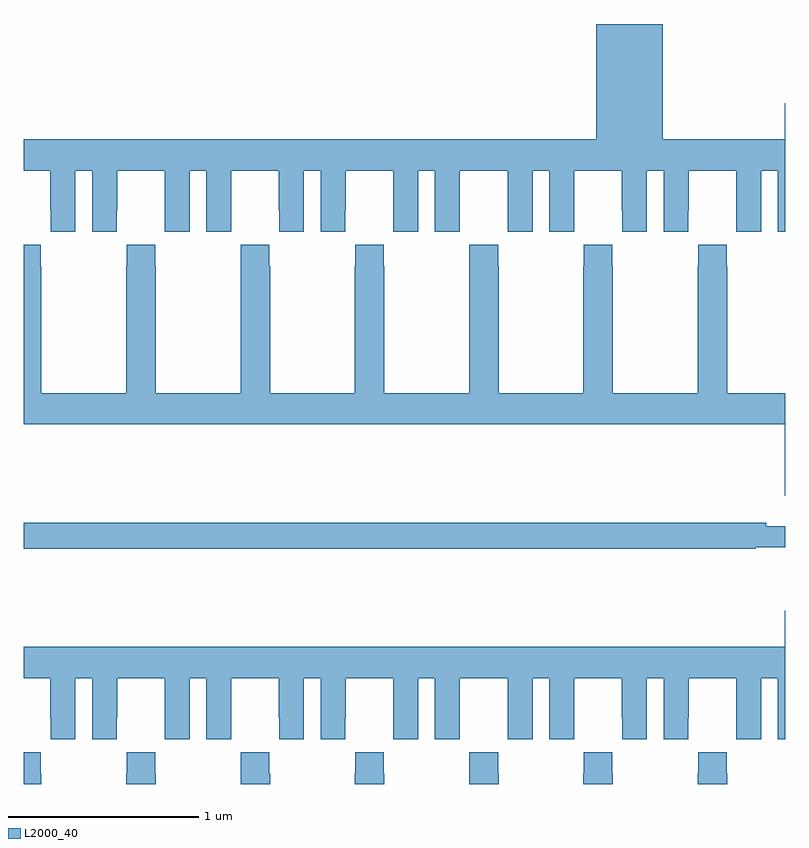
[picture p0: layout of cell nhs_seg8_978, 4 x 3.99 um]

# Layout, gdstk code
import gdstk
lib = gdstk.Library(unit=1e-6, precision=1e-09)
def P(c, l, *ps):  # polygons
    for p in ps: c.add(gdstk.Polygon(p, *l))
L2000_40 = (2000, 40)

nhs_seg8_978 = lib.new_cell('nhs_seg8_978')
P(nhs_seg8_978, L2000_40, [(173,1163.12),(173.141,1163.12),(173.141,1162.912),(173.142,1162.912),(173.142,1162.8),(173.272,1162.8),(173.272,1163.12),(173.36,1163.12),(173.36,1162.8),(173.49,1162.8),(173.49,1162.912),(173.491,1162.912),(173.491,1163.12),(173.741,1163.12),(173.741,1162.912),(173.742,1162.912),(173.742,1162.8),(173.872,1162.8),(173.872,1163.12),(173.96,1163.12),(173.96,1162.8),(174.09,1162.8),(174.09,1162.912),(174.091,1162.912),(174.091,1163.12),(174.341,1163.12),(174.341,1162.912),(174.342,1162.912),(174.342,1162.8),(174.472,1162.8),(174.472,1163.12),(174.56,1163.12),(174.56,1162.8),(174.69,1162.8),(174.69,1162.912),(174.691,1162.912),(174.691,1163.12),(174.941,1163.12),(174.941,1162.912),(174.942,1162.912),(174.942,1162.8),(175.072,1162.8),(175.072,1163.12),(175.16,1163.12),(175.16,1162.8),(175.29,1162.8),(175.29,1162.912),(175.291,1162.912),(175.291,1163.12),(175.541,1163.12),(175.541,1162.912),(175.542,1162.912),(175.542,1162.8),(175.672,1162.8),(175.672,1163.12),(175.76,1163.12),(175.76,1162.8),(175.89,1162.8),(175.89,1162.912),(175.891,1162.912),(175.891,1163.12),(176.141,1163.12),(176.141,1162.912),(176.142,1162.912),(176.142,1162.8),(176.272,1162.8),(176.272,1163.12),(176.36,1163.12),(176.36,1162.8),(176.49,1162.8),(176.49,1162.912),(176.491,1162.912),(176.491,1163.12),(176.741,1163.12),(176.741,1162.912),(176.742,1162.912),(176.742,1162.8),(176.872,1162.8),(176.872,1163.12),(176.96,1163.12),(176.96,1162.8),(177,1162.8),(177,1163.473),(176.996,1163.473),(176.996,1163.284),(176.356,1163.284),(176.356,1163.89),(176.006,1163.89),(176.006,1163.284),(173,1163.284)],
  [(176.541,1162.732),(176.541,1162.619),(176.539,1162.619),(176.539,1161.952),(176.094,1161.952),(176.094,1162.619),(176.091,1162.619),(176.091,1162.732),(175.941,1162.732),(175.941,1162.619),(175.939,1162.619),(175.939,1161.952),(175.494,1161.952),(175.494,1162.619),(175.491,1162.619),(175.491,1162.732),(175.341,1162.732),(175.341,1162.619),(175.339,1162.619),(175.339,1161.952),(174.894,1161.952),(174.894,1162.619),(174.891,1162.619),(174.891,1162.732),(174.741,1162.732),(174.741,1162.619),(174.739,1162.619),(174.739,1161.952),(174.294,1161.952),(174.294,1162.619),(174.291,1162.619),(174.291,1162.732),(174.141,1162.732),(174.141,1162.619),(174.139,1162.619),(174.139,1161.952),(173.694,1161.952),(173.694,1162.619),(173.691,1162.619),(173.691,1162.732),(173.541,1162.732),(173.541,1162.619),(173.539,1162.619),(173.539,1161.952),(173.094,1161.952),(173.094,1162.619),(173.091,1162.619),(173.091,1162.732),(173,1162.732),(173,1161.788),(176.996,1161.788),(176.996,1161.414),(177,1161.414),(177,1161.952),(176.694,1161.952),(176.694,1162.619),(176.691,1162.619),(176.691,1162.732)],
  [(176.845,1161.144),(177,1161.144),(177,1161.253),(176.9,1161.253),(176.9,1161.272),(173,1161.272),(173,1161.136),(176.845,1161.136)],
  [(173,1160.456),(173.141,1160.456),(173.141,1160.248),(173.142,1160.248),(173.142,1160.136),(173.272,1160.136),(173.272,1160.456),(173.36,1160.456),(173.36,1160.136),(173.49,1160.136),(173.49,1160.248),(173.491,1160.248),(173.491,1160.456),(173.741,1160.456),(173.741,1160.248),(173.742,1160.248),(173.742,1160.136),(173.872,1160.136),(173.872,1160.456),(173.96,1160.456),(173.96,1160.136),(174.09,1160.136),(174.09,1160.248),(174.091,1160.248),(174.091,1160.456),(174.341,1160.456),(174.341,1160.248),(174.342,1160.248),(174.342,1160.136),(174.472,1160.136),(174.472,1160.456),(174.56,1160.456),(174.56,1160.136),(174.69,1160.136),(174.69,1160.248),(174.691,1160.248),(174.691,1160.456),(174.941,1160.456),(174.941,1160.248),(174.942,1160.248),(174.942,1160.136),(175.072,1160.136),(175.072,1160.456),(175.16,1160.456),(175.16,1160.136),(175.29,1160.136),(175.29,1160.248),(175.291,1160.248),(175.291,1160.456),(175.541,1160.456),(175.541,1160.248),(175.542,1160.248),(175.542,1160.136),(175.672,1160.136),(175.672,1160.456),(175.76,1160.456),(175.76,1160.136),(175.89,1160.136),(175.89,1160.248),(175.891,1160.248),(175.891,1160.456),(176.141,1160.456),(176.141,1160.248),(176.142,1160.248),(176.142,1160.136),(176.272,1160.136),(176.272,1160.456),(176.36,1160.456),(176.36,1160.136),(176.49,1160.136),(176.49,1160.248),(176.491,1160.248),(176.491,1160.456),(176.741,1160.456),(176.741,1160.248),(176.742,1160.248),(176.742,1160.136),(176.872,1160.136),(176.872,1160.456),(176.96,1160.456),(176.96,1160.136),(177,1160.136),(177,1160.809),(176.996,1160.809),(176.996,1160.62),(173,1160.62)],
  [(176.694,1159.955),(176.691,1159.955),(176.691,1160.068),(176.541,1160.068),(176.541,1159.955),(176.539,1159.955),(176.539,1159.9),(176.694,1159.9)],
  [(173.694,1159.955),(173.691,1159.955),(173.691,1160.068),(173.541,1160.068),(173.541,1159.955),(173.539,1159.955),(173.539,1159.9),(173.694,1159.9)],
  [(174.294,1159.955),(174.291,1159.955),(174.291,1160.068),(174.141,1160.068),(174.141,1159.955),(174.139,1159.955),(174.139,1159.9),(174.294,1159.9)],
  [(174.894,1159.955),(174.891,1159.955),(174.891,1160.068),(174.741,1160.068),(174.741,1159.955),(174.739,1159.955),(174.739,1159.9),(174.894,1159.9)],
  [(175.494,1159.955),(175.491,1159.955),(175.491,1160.068),(175.341,1160.068),(175.341,1159.955),(175.339,1159.955),(175.339,1159.9),(175.494,1159.9)],
  [(176.094,1159.955),(176.091,1159.955),(176.091,1160.068),(175.941,1160.068),(175.941,1159.955),(175.939,1159.955),(175.939,1159.9),(176.094,1159.9)],
  [(173,1160.068),(173,1159.9),(173.094,1159.9),(173.094,1159.955),(173.091,1159.955),(173.091,1160.068)])

lib.write_gds('nhs_seg8_978.gds')
